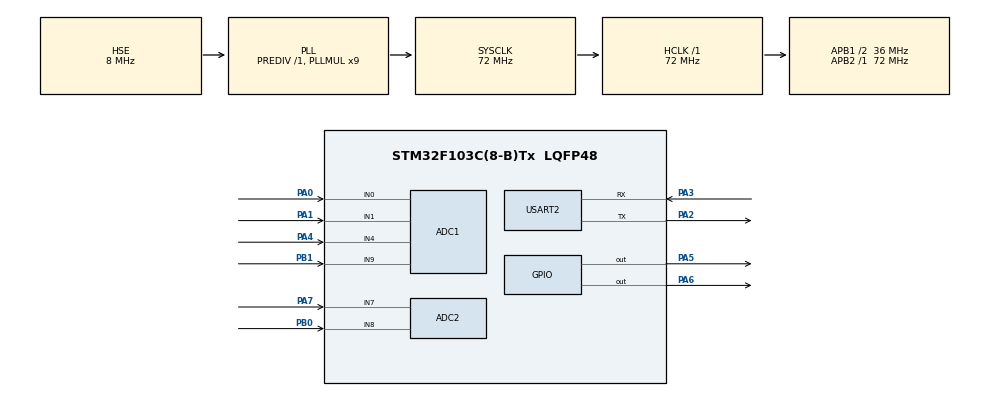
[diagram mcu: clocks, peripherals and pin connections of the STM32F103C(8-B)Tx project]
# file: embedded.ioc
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ADC1.Channel-3\#ChannelRegularConversion=ADC_CHANNEL_0
ADC1.Channel-4\#ChannelRegularConversion=ADC_CHANNEL_1
ADC1.Channel-5\#ChannelRegularConversion=ADC_CHANNEL_4
ADC1.Channel-6\#ChannelRegularConversion=ADC_CHANNEL_9
ADC1.ContinuousConvMode=DISABLE
ADC1.NbrOfConversion=4
ADC1.NbrOfConversionFlag=1
ADC1.Rank-3\#ChannelRegularConversion=1
ADC1.Rank-4\#ChannelRegularConversion=2
ADC1.Rank-5\#ChannelRegularConversion=3
ADC1.Rank-6\#ChannelRegularConversion=4
ADC1.SamplingTime-3\#ChannelRegularConversion=ADC_SAMPLETIME_1CYCLE_5
ADC1.SamplingTime-4\#ChannelRegularConversion=ADC_SAMPLETIME_1CYCLE_5
ADC1.SamplingTime-5\#ChannelRegularConversion=ADC_SAMPLETIME_1CYCLE_5
ADC1.SamplingTime-6\#ChannelRegularConversion=ADC_SAMPLETIME_1CYCLE_5
ADC1.master=1
ADC2.Channel-2\#ChannelRegularConversion=ADC_CHANNEL_7
ADC2.Channel-3\#ChannelRegularConversion=ADC_CHANNEL_7
ADC2.NbrOfConversion=2
ADC2.NbrOfConversionFlag=1
ADC2.Rank-2\#ChannelRegularConversion=1
ADC2.Rank-3\#ChannelRegularConversion=2
ADC2.SamplingTime-2\#ChannelRegularConversion=ADC_SAMPLETIME_1CYCLE_5
ADC2.SamplingTime-3\#ChannelRegularConversion=ADC_SAMPLETIME_1CYCLE_5
Dma.ADC1.0.Direction=DMA_PERIPH_TO_MEMORY
Dma.ADC1.0.Instance=DMA1_Channel1
Dma.ADC1.0.MemDataAlignment=DMA_MDATAALIGN_HALFWORD
Dma.ADC1.0.MemInc=DMA_MINC_ENABLE
Dma.ADC1.0.Mode=DMA_CIRCULAR
Dma.ADC1.0.PeriphDataAlignment=DMA_PDATAALIGN_HALFWORD
Dma.ADC1.0.PeriphInc=DMA_PINC_DISABLE
Dma.ADC1.0.Priority=DMA_PRIORITY_LOW
Dma.Request0=ADC1
FREERTOS.Tasks01=Task_sensor,0,128,StartTask_Sensor,Default,NULL,Dynamic,NULL,NULL
Mcu.Family=STM32F1
Mcu.Name=STM32F103C(8-B)Tx
Mcu.Package=LQFP48
NVIC.ADC1_2_IRQn=true\:5\:0\:false\:false\:true\:true\:true\:true\:true
NVIC.DMA1_Channel1_IRQn=true\:5\:0\:false\:false\:true\:true\:false\:true\:true
NVIC.PriorityGroup=NVIC_PRIORITYGROUP_4
PA0-WKUP.Signal=ADCx_IN0
PA1.Signal=ADCx_IN1
PA13.Mode=Serial_Wire
PA13.Signal=SYS_JTMS-SWDIO
PA14.Mode=Serial_Wire
PA14.Signal=SYS_JTCK-SWCLK
PA2.Mode=Asynchronous
PA2.Signal=USART2_TX
PA3.Mode=Asynchronous
PA3.Signal=USART2_RX
PA4.Signal=ADCx_IN4
PA5.PinState=GPIO_PIN_RESET
PA5.Signal=GPIO_Output
PA6.PinState=GPIO_PIN_RESET
PA6.Signal=GPIO_Output
PA7.Signal=ADCx_IN7
PB0.Signal=ADCx_IN8
PB1.Signal=ADCx_IN9
PD0-OSC_IN.Mode=HSE-External-Oscillator
PD0-OSC_IN.Signal=RCC_OSC_IN
PD1-OSC_OUT.Mode=HSE-External-Oscillator
PD1-OSC_OUT.Signal=RCC_OSC_OUT
ProjectManager.HeapSize=0x200
ProjectManager.StackSize=0x400
ProjectManager.TargetToolchain=MDK-ARM V5.32
RCC.ADCPresc=RCC_ADCPCLK2_DIV6
RCC.AHBFreq_Value=72000000
RCC.APB1CLKDivider=RCC_HCLK_DIV2
RCC.APB1Freq_Value=36000000
RCC.APB1TimFreq_Value=72000000
RCC.APB2Freq_Value=72000000
RCC.APB2TimFreq_Value=72000000
RCC.HCLKFreq_Value=72000000
RCC.PLLMUL=RCC_PLL_MUL9
RCC.PLLSourceVirtual=RCC_PLLSOURCE_HSE
RCC.SYSCLKFreq_VALUE=72000000
RCC.SYSCLKSource=RCC_SYSCLKSOURCE_PLLCLK
RCC.USBFreq_Value=72000000
SH.ADCx_IN0.0=ADC1_IN0,IN0
SH.ADCx_IN1.0=ADC1_IN1,IN1
SH.ADCx_IN4.0=ADC1_IN4,IN4
SH.ADCx_IN7.0=ADC2_IN7,IN7
SH.ADCx_IN8.0=ADC2_IN8,IN8
SH.ADCx_IN9.0=ADC1_IN9,IN9
TIM4.Period=0xffff-1
TIM4.Prescaler=72-1
USART2.VirtualMode=VM_ASYNC
VP_FREERTOS_VS_CMSIS_V1.Mode=CMSIS_V1
VP_TIM4_VS_ClockSourceINT.Mode=Internal
board=custom

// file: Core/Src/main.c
/* USER CODE BEGIN Header */
/**
  ******************************************************************************
  * @file           : main.c
  * @brief          : Main program body
  ******************************************************************************
  * @attention
  *
  * Copyright (c) 2023 STMicroelectronics.
  * All rights reserved.
  *
  * This software is licensed under terms that can be found in the LICENSE file
  * in the root directory of this software component.
  * If no LICENSE file comes with this software, it is provided AS-IS.
  *
  ******************************************************************************
  */
/* USER CODE END Header */
#include "main.h"
#include "cmsis_os.h"

/* USER CODE BEGIN Includes */
//source code by NguyenTheTri
#include "DHT.h"
#include "string.h"
#include "stdio.h"
/* USER CODE END Includes */

/* USER CODE BEGIN PD */
DHT_Name DHT1;
DHT_Name1 DHT2;
uint8_t temp, humi;
int temp2,humi2;
int i = 0;
uint16_t value_adc[4];
char buffer[100];
char buffer1[100];
/* USER CODE END PD */

ADC_HandleTypeDef hadc1;
ADC_HandleTypeDef hadc2;
DMA_HandleTypeDef hdma_adc1;

TIM_HandleTypeDef htim4;

UART_HandleTypeDef huart2;

osThreadId Task_sensorHandle;
osThreadId Task_sensorHandle1;

void SystemClock_Config(void);
static void MX_GPIO_Init(void);
static void MX_DMA_Init(void);
static void MX_TIM4_Init(void);
static void MX_USART2_UART_Init(void);
static void MX_ADC1_Init(void);
static void MX_ADC2_Init(void);
void StartTask_Sensor(void const * argument);
void StartTask_Sensor1(void const * argument);
void StartTask_Sensor2(void const * argument);
void StartTask_Sensor3(void const * argument);

int main(void)
{

  /* MCU Configuration--------------------------------------------------------*/

  /* Reset of all peripherals, Initializes the Flash interface and the Systick. */
  HAL_Init();

  /* Configure the system clock */
  SystemClock_Config();

  /* Initialize all configured peripherals */
  MX_GPIO_Init();
  MX_DMA_Init();
  MX_TIM4_Init();
  MX_USART2_UART_Init();
  MX_ADC1_Init();
  MX_ADC2_Init();
  /* USER CODE BEGIN 2 */
	DHT_Init(&DHT1, DHT11, &htim4, DHT11_GPIO_Port1, DHT11_Pin1);
	DHT_Init1(&DHT2, DHT11, &htim4, DHT11_GPIO_Port2, DHT11_Pin2);
  /* USER CODE END 2 */

  /* Create the thread(s) */
  /* definition and creation of Task_sensor */
  osThreadDef(Task_sensor, StartTask_Sensor, osPriorityNormal, 0, 128);
  Task_sensorHandle = osThreadCreate(osThread(Task_sensor), NULL);
	osThreadDef(Task_sensor1, StartTask_Sensor1, osPriorityNormal, 0, 128);
  Task_sensorHandle1 = osThreadCreate(osThread(Task_sensor1), NULL);

  /* Start scheduler */
  osKernelStart();

  /* We should never get here as control is now taken by the scheduler */
  /* Infinite loop */
  while (1)
  {

  }
}

void SystemClock_Config(void)
{
  RCC_OscInitTypeDef RCC_OscInitStruct = {0};
  RCC_ClkInitTypeDef RCC_ClkInitStruct = {0};
  RCC_PeriphCLKInitTypeDef PeriphClkInit = {0};

  /** Initializes the RCC Oscillators according to the specified parameters
  * in the RCC_OscInitTypeDef structure.
  */
  RCC_OscInitStruct.OscillatorType = RCC_OSCILLATORTYPE_HSE;
  RCC_OscInitStruct.HSEState = RCC_HSE_ON;
  RCC_OscInitStruct.HSEPredivValue = RCC_HSE_PREDIV_DIV1;
  RCC_OscInitStruct.HSIState = RCC_HSI_ON;
  RCC_OscInitStruct.PLL.PLLState = RCC_PLL_ON;
  RCC_OscInitStruct.PLL.PLLSource = RCC_PLLSOURCE_HSE;
  RCC_OscInitStruct.PLL.PLLMUL = RCC_PLL_MUL9;
  if (HAL_RCC_OscConfig(&RCC_OscInitStruct) != HAL_OK)
  {
    Error_Handler();
  }

  /** Initializes the CPU, AHB and APB buses clocks
  */
  RCC_ClkInitStruct.ClockType = RCC_CLOCKTYPE_HCLK|RCC_CLOCKTYPE_SYSCLK
                              |RCC_CLOCKTYPE_PCLK1|RCC_CLOCKTYPE_PCLK2;
  RCC_ClkInitStruct.SYSCLKSource = RCC_SYSCLKSOURCE_PLLCLK;
  RCC_ClkInitStruct.AHBCLKDivider = RCC_SYSCLK_DIV1;
  RCC_ClkInitStruct.APB1CLKDivider = RCC_HCLK_DIV2;
  RCC_ClkInitStruct.APB2CLKDivider = RCC_HCLK_DIV1;

  if (HAL_RCC_ClockConfig(&RCC_ClkInitStruct, FLASH_LATENCY_2) != HAL_OK)
  {
    Error_Handler();
  }
  PeriphClkInit.PeriphClockSelection = RCC_PERIPHCLK_ADC;
  PeriphClkInit.AdcClockSelection = RCC_ADCPCLK2_DIV6;
  if (HAL_RCCEx_PeriphCLKConfig(&PeriphClkInit) != HAL_OK)
  {
    Error_Handler();
  }
}

static void MX_ADC1_Init(void)
{

  ADC_ChannelConfTypeDef sConfig = {0};

  /** Common config
  */
  hadc1.Instance = ADC1;
  hadc1.Init.ScanConvMode = ADC_SCAN_ENABLE;
  hadc1.Init.ContinuousConvMode = DISABLE;
  hadc1.Init.DiscontinuousConvMode = DISABLE;
  hadc1.Init.ExternalTrigConv = ADC_SOFTWARE_START;
  hadc1.Init.DataAlign = ADC_DATAALIGN_RIGHT;
  hadc1.Init.NbrOfConversion = 4;
  if (HAL_ADC_Init(&hadc1) != HAL_OK)
  {
    Error_Handler();
  }

  /** Configure Regular Channel
  */
  sConfig.Channel = ADC_CHANNEL_0;
  sConfig.Rank = ADC_REGULAR_RANK_1;
  sConfig.SamplingTime = ADC_SAMPLETIME_1CYCLE_5;
  if (HAL_ADC_ConfigChannel(&hadc1, &sConfig) != HAL_OK)
  {
    Error_Handler();
  }

  /** Configure Regular Channel
  */
  sConfig.Channel = ADC_CHANNEL_1;
  sConfig.Rank = ADC_REGULAR_RANK_2;
  if (HAL_ADC_ConfigChannel(&hadc1, &sConfig) != HAL_OK)
  {
    Error_Handler();
  }

  /** Configure Regular Channel
  */
  sConfig.Channel = ADC_CHANNEL_4;
  sConfig.Rank = ADC_REGULAR_RANK_3;
  if (HAL_ADC_ConfigChannel(&hadc1, &sConfig) != HAL_OK)
  {
    Error_Handler();
  }

  /** Configure Regular Channel
  */
  sConfig.Channel = ADC_CHANNEL_9;
  sConfig.Rank = ADC_REGULAR_RANK_4;
  if (HAL_ADC_ConfigChannel(&hadc1, &sConfig) != HAL_OK)
  {
    Error_Handler();
  }

}

static void MX_ADC2_Init(void)
{

  ADC_ChannelConfTypeDef sConfig = {0};

  /** Common config
  */
  hadc2.Instance = ADC2;
  hadc2.Init.ScanConvMode = ADC_SCAN_ENABLE;
  hadc2.Init.ContinuousConvMode = DISABLE;
  hadc2.Init.DiscontinuousConvMode = DISABLE;
  hadc2.Init.ExternalTrigConv = ADC_SOFTWARE_START;
  hadc2.Init.DataAlign = ADC_DATAALIGN_RIGHT;
  hadc2.Init.NbrOfConversion = 2;
  if (HAL_ADC_Init(&hadc2) != HAL_OK)
  {
    Error_Handler();
  }

  /** Configure Regular Channel
  */
  sConfig.Channel = ADC_CHANNEL_7;
  sConfig.Rank = ADC_REGULAR_RANK_1;
  sConfig.SamplingTime = ADC_SAMPLETIME_1CYCLE_5;
  if (HAL_ADC_ConfigChannel(&hadc2, &sConfig) != HAL_OK)
  {
    Error_Handler();
  }

  /** Configure Regular Channel
  */
  sConfig.Rank = ADC_REGULAR_RANK_2;
  if (HAL_ADC_ConfigChannel(&hadc2, &sConfig) != HAL_OK)
  {
    Error_Handler();
  }

}

static void MX_TIM4_Init(void)
{

  TIM_ClockConfigTypeDef sClockSourceConfig = {0};
  TIM_MasterConfigTypeDef sMasterConfig = {0};

  htim4.Instance = TIM4;
  htim4.Init.Prescaler = 72-1;
  htim4.Init.CounterMode = TIM_COUNTERMODE_UP;
  htim4.Init.Period = 0xffff-1;
  htim4.Init.ClockDivision = TIM_CLOCKDIVISION_DIV1;
  htim4.Init.AutoReloadPreload = TIM_AUTORELOAD_PRELOAD_DISABLE;
  if (HAL_TIM_Base_Init(&htim4) != HAL_OK)
  {
    Error_Handler();
  }
  sClockSourceConfig.ClockSource = TIM_CLOCKSOURCE_INTERNAL;
  if (HAL_TIM_ConfigClockSource(&htim4, &sClockSourceConfig) != HAL_OK)
  {
    Error_Handler();
  }
  sMasterConfig.MasterOutputTrigger = TIM_TRGO_RESET;
  sMasterConfig.MasterSlaveMode = TIM_MASTERSLAVEMODE_DISABLE;
  if (HAL_TIMEx_MasterConfigSynchronization(&htim4, &sMasterConfig) != HAL_OK)
  {
    Error_Handler();
  }

}

static void MX_USART2_UART_Init(void)
{

  huart2.Instance = USART2;
  huart2.Init.BaudRate = 115200;
  huart2.Init.WordLength = UART_WORDLENGTH_8B;
  huart2.Init.StopBits = UART_STOPBITS_1;
  huart2.Init.Parity = UART_PARITY_NONE;
  huart2.Init.Mode = UART_MODE_TX_RX;
  huart2.Init.HwFlowCtl = UART_HWCONTROL_NONE;
  huart2.Init.OverSampling = UART_OVERSAMPLING_16;
  if (HAL_UART_Init(&huart2) != HAL_OK)
  {
    Error_Handler();
  }

}

static void MX_DMA_Init(void)
{

  /* DMA controller clock enable */
  __HAL_RCC_DMA1_CLK_ENABLE();

  /* DMA interrupt init */
  /* DMA1_Channel1_IRQn interrupt configuration */
  HAL_NVIC_SetPriority(DMA1_Channel1_IRQn, 5, 0);
  HAL_NVIC_EnableIRQ(DMA1_Channel1_IRQn);

}

static void MX_GPIO_Init(void)
{
  GPIO_InitTypeDef GPIO_InitStruct = {0};

  /* GPIO Ports Clock Enable */
  __HAL_RCC_GPIOD_CLK_ENABLE();
  __HAL_RCC_GPIOA_CLK_ENABLE();
  __HAL_RCC_GPIOB_CLK_ENABLE();

  /*Configure GPIO pin Output Level */
  HAL_GPIO_WritePin(GPIOA, GPIO_PIN_5|GPIO_PIN_6, GPIO_PIN_RESET);

  /*Configure GPIO pins : PA5 PA6 */
  GPIO_InitStruct.Pin = GPIO_PIN_5|GPIO_PIN_6;
  GPIO_InitStruct.Mode = GPIO_MODE_OUTPUT_PP;
  GPIO_InitStruct.Pull = GPIO_NOPULL;
  GPIO_InitStruct.Speed = GPIO_SPEED_FREQ_LOW;
  HAL_GPIO_Init(GPIOA, &GPIO_InitStruct);

}

void StartTask_Sensor(void const * argument)
{
  /* USER CODE BEGIN 5 */
  /* Infinite loop */
  while(1)
  {
		HAL_ADC_Start_DMA(&hadc1,(uint32_t *)value_adc,4);
		DHT_ReadTempHum(&DHT1);
		temp = DHT1.Temp;
		humi = DHT1.Humi;
		DHT_ReadTempHum1(&DHT2);
		temp2 = DHT2.Temp1;
		humi2 = DHT2.Humi1;
		sprintf(buffer, "%d %d %d %d %d %d %d %d",temp,humi,temp2, humi2,value_adc[0],value_adc[1],value_adc[2],value_adc[3]);
		//HAL_UART_Transmit(&huart2, (uint8_t *)buffer, strlen(buffer),100);
		osDelay(1000);
  }
  /* USER CODE END 5 */
}
void StartTask_Sensor1(void const * argument)
{
  /* USER CODE BEGIN 5 */
  /* Infinite loop */

  while(1)
  {
		//sprintf(buffer, "%d %d %d %d", value_adc[0],value_adc[1], value_adc[2],value_adc[3]);
		HAL_UART_Transmit(&huart2, (uint8_t *)buffer, strlen(buffer),100);
		vTaskDelay(pdMS_TO_TICKS(2000));
		osDelay(1000);
  }
  /* USER CODE END 5 */
}
void Error_Handler(void)
{
  __disable_irq();
  while (1)
  {
  }
}
